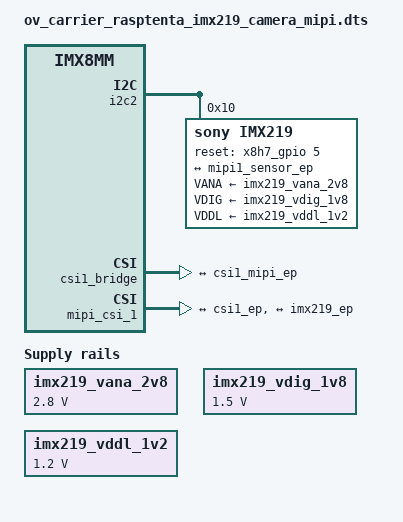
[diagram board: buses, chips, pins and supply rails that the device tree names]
/**
 * Portenta-X8 dtb overlay file
 * Arduino 2022
 * This overlay is adding the RPi V2.1 camera
 * with cmos sensor Sony imx219 to Rasp-Tenta carrier board
 */

/dts-v1/;
/plugin/;

#include <dt-bindings/gpio/gpio.h>
#include <dt-bindings/interrupt-controller/arm-gic.h>
#include <dt-bindings/clock/imx8mm-clock.h>
#include "imx8mm-pinfunc.h"

/ {
	compatible = "fsl,imx8mm-evk", "fsl,imx8mm";

	fragment@0 {
		target-path = "/";
		__overlay__ {
			imx219_vana_2v8: 2p8v {
				compatible = "regulator-fixed";
				regulator-name = "camera_vana";
				regulator-min-microvolt = <2800000>;
				regulator-max-microvolt = <2800000>;
			};

			imx219_vdig_1v8: 1p8v {
				compatible = "regulator-fixed";
				regulator-name = "camera_vdig";
				regulator-min-microvolt = <1500000>;
				regulator-max-microvolt = <1500000>;
			};

			imx219_vddl_1v2: 1p2v {
				compatible = "regulator-fixed";
				regulator-name = "camera_vddl";
				regulator-min-microvolt = <1200000>;
				regulator-max-microvolt = <1200000>;
			};

			imx219_clk: imx219clk {
				compatible = "fixed-clock";
				#clock-cells = <0>;
				clock-frequency = <24000000>;
			};
		};
	};

	fragment@1 {
		target = <&i2c2>;
		__overlay__ {
			imx219@10 {
				compatible = "sony,imx219";
				reg = <0x10>;
				status = "okay";
				VANA-supply = <&imx219_vana_2v8>;
				VDIG-supply = <&imx219_vdig_1v8>;
				VDDL-supply = <&imx219_vddl_1v2>;
				clocks = <&clk IMX8MM_CLK_CLKO1>;
				clock-names = "csi_mclk";
				assigned-clocks = <&clk IMX8MM_CLK_CLKO1>;
				assigned-clock-parents = <&clk IMX8MM_CLK_24M>;
				assigned-clock-rates = <24000000>;
				csi_id = <0>;
				reset-gpios = <&x8h7_gpio 5 GPIO_ACTIVE_HIGH>; /* stm32h7 PE10 */
				mclk = <24000000>;
				mclk_source = <0>;
				port {
					imx219_ep: endpoint {
						remote-endpoint = <&mipi1_sensor_ep>;
						data-lanes = <2>;
						link-frequencies = /bits/ 64 <456000000>;
					};
				};
			};
		};
	};

	fragment@2 {
		target = <&csi1_bridge>;
		__overlay__ {
			port {
				csi1_ep: endpoint {
					remote-endpoint = <&csi1_mipi_ep>;
				};
			};
		};
	};

	fragment@3 {
		target = <&mipi_csi_1>;
		__overlay__ {
			port {
				csi1_mipi_ep: endpoint@2 {
					remote-endpoint = <&csi1_ep>;
				};

				mipi1_sensor_ep: endpoint@1 {
					remote-endpoint = <&imx219_ep>;
					data-lanes = <2>;
				};
			};
		};
	};
};
